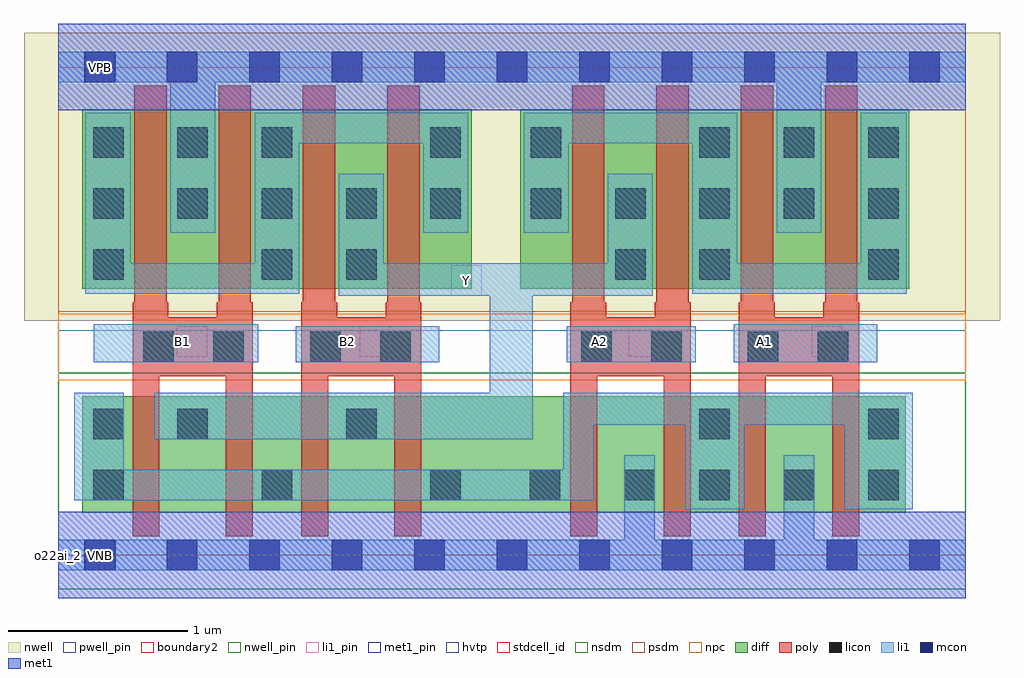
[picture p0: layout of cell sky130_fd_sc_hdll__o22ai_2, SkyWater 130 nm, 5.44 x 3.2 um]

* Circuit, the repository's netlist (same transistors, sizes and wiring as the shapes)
* Copyright 2020 The SkyWater PDK Authors
*
* Licensed under the Apache License, Version 2.0 (the "License");
* you may not use this file except in compliance with the License.
* You may obtain a copy of the License at
*
*     https://www.apache.org/licenses/LICENSE-2.0
*
* Unless required by applicable law or agreed to in writing, software
* distributed under the License is distributed on an "AS IS" BASIS,
* WITHOUT WARRANTIES OR CONDITIONS OF ANY KIND, either express or implied.
* See the License for the specific language governing permissions and
* limitations under the License.
*
* SPDX-License-Identifier: Apache-2.0

.SUBCKT sky130_fd_sc_hdll__o22ai_2 A1 A2 B1 B2 VGND VNB VPB VPWR Y
*.PININFO A1:I A2:I B1:I B2:I VGND:I VNB:I VPB:I VPWR:I Y:O
MMPA0 VPWR A1 sndA1 VPB sky130_fd_pr__pfet_01v8_hvt m=2 w=1.0U l=0.18U mult=1 sa=0.265
+ sb=0.265 sd=0.28 area=0.063 perim=1.14
MMPA1 sndA1 A2 Y VPB sky130_fd_pr__pfet_01v8_hvt m=2 w=1.0U l=0.18U mult=1 sa=0.265
+ sb=0.265 sd=0.28 area=0.063 perim=1.14
MMPB0 VPWR B1 sndB1 VPB sky130_fd_pr__pfet_01v8_hvt m=2 w=1.0U l=0.18U mult=1 sa=0.265
+ sb=0.265 sd=0.28 area=0.063 perim=1.14
MMPB1 sndB1 B2 Y VPB sky130_fd_pr__pfet_01v8_hvt m=2 w=1.0U l=0.18U mult=1 sa=0.265
+ sb=0.265 sd=0.28 area=0.063 perim=1.14
MMNA0 pndA A1 VGND VNB sky130_fd_pr__nfet_01v8 m=2 w=0.65U l=0.15U mult=1 sa=0.265
+ sb=0.265 sd=0.28 area=0.063 perim=1.14
MMNA1 pndA A2 VGND VNB sky130_fd_pr__nfet_01v8 m=2 w=0.65U l=0.15U mult=1 sa=0.265
+ sb=0.265 sd=0.28 area=0.063 perim=1.14
MMNB0 Y B1 pndA VNB sky130_fd_pr__nfet_01v8 m=2 w=0.65U l=0.15U mult=1 sa=0.265
+ sb=0.265 sd=0.28 area=0.063 perim=1.14
MMNB1 Y B2 pndA VNB sky130_fd_pr__nfet_01v8 m=2 w=0.65U l=0.15U mult=1 sa=0.265
+ sb=0.265 sd=0.28 area=0.063 perim=1.14
.ENDS sky130_fd_sc_hdll__o22ai_2

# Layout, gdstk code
import gdstk
lib = gdstk.Library(unit=1e-6, precision=1e-09)
def R(c, l, rs):  # rectangles x0, y0, x1, y1
    for r in rs: c.add(gdstk.rectangle(r[:2], r[2:], *l))
def A(c, l, x, y, w, h, nx, ny, dx, dy):  # array of equal rectangles
    R(c, l, [(x+i*dx, y+j*dy, x+i*dx+w, y+j*dy+h) for i in range(nx) for j in range(ny)])
def P(c, l, *ps):  # polygons
    for p in ps: c.add(gdstk.Polygon(p, *l))
nwell_pin = (64, 16)
nwell = (64, 20)
diff = (65, 20)
poly = (66, 20)
licon = (66, 44)
li1_pin = (67, 16)
li1 = (67, 20)
mcon = (67, 44)
met1_pin = (68, 16)
met1 = (68, 20)
hvtp = (78, 44)
stdcell_id = (81, 4)
nsdm = (93, 44)
psdm = (94, 20)
npc = (95, 20)
pwell_pin = (122, 16)
boundary2 = (236, 0)

sky130_fd_sc_hdll__o22ai = lib.new_cell('sky130_fd_sc_hdll__o22ai_2')
R(sky130_fd_sc_hdll__o22ai, nwell_pin, [(0.15,2.635,0.32,2.805)])
R(sky130_fd_sc_hdll__o22ai, nwell, [(-0.19,1.305,5.25,2.91)])
R(sky130_fd_sc_hdll__o22ai, diff, [(0.135,0.235,4.725,0.885), (0.135,1.485,2.305,2.485), (2.575,1.485,4.745,2.485)])
P(sky130_fd_sc_hdll__o22ai, poly, [(1.085,1.41),(1.075,1.41),(1.075,2.615),(0.895,2.615),(0.895,1.41),(0.885,1.41),(0.885,1.325),(0.615,1.325),(0.615,1.41),(0.605,1.41),(0.605,2.615),(0.425,2.615),(0.425,1.41),(0.415,1.41),(0.415,0.105),(0.565,0.105),(0.565,0.995),(0.935,0.995),(0.935,0.105),(1.085,0.105)],
  [(2.025,1.41),(2.015,1.41),(2.015,2.615),(1.835,2.615),(1.835,1.41),(1.825,1.41),(1.825,1.325),(1.555,1.325),(1.555,1.41),(1.545,1.41),(1.545,2.615),(1.365,2.615),(1.365,1.41),(1.355,1.41),(1.355,0.105),(1.505,0.105),(1.505,0.995),(1.875,0.995),(1.875,0.105),(2.025,0.105)],
  [(3.525,1.41),(3.515,1.41),(3.515,2.615),(3.335,2.615),(3.335,1.41),(3.325,1.41),(3.325,1.325),(3.055,1.325),(3.055,1.41),(3.045,1.41),(3.045,2.615),(2.865,2.615),(2.865,1.41),(2.855,1.41),(2.855,0.105),(3.005,0.105),(3.005,0.995),(3.375,0.995),(3.375,0.105),(3.525,0.105)],
  [(4.465,1.41),(4.455,1.41),(4.455,2.615),(4.275,2.615),(4.275,1.41),(4.265,1.41),(4.265,1.325),(3.995,1.325),(3.995,1.41),(3.985,1.41),(3.985,2.615),(3.805,2.615),(3.805,1.41),(3.795,1.41),(3.795,0.105),(3.945,0.105),(3.945,0.995),(4.315,0.995),(4.315,0.105),(4.465,0.105)])
A(sky130_fd_sc_hdll__o22ai, licon, 0.195, 0.305, 0.17, 0.17, 3, 1, 0.94, 0)
A(sky130_fd_sc_hdll__o22ai, licon, 3.575, 0.305, 0.17, 0.17, 3, 2, 0.47, 1.91)
A(sky130_fd_sc_hdll__o22ai, licon, 0.195, 1.875, 0.17, 0.17, 5, 1, 0.47, 0)
A(sky130_fd_sc_hdll__o22ai, licon, 2.635, 1.875, 0.17, 0.17, 5, 1, 0.47, 0)
A(sky130_fd_sc_hdll__o22ai, licon, 0.195, 2.215, 0.17, 0.17, 3, 1, 0.47, 0)
R(sky130_fd_sc_hdll__o22ai, licon, [(2.63,0.305,2.8,0.475), (3.155,0.305,3.325,0.475), (0.195,0.645,0.365,0.815), (0.665,0.645,0.835,0.815), (1.605,0.645,1.775,0.815), (3.575,0.645,3.745,0.815), (4.515,0.645,4.685,0.815), (0.475,1.075,0.645,1.245), (0.865,1.075,1.035,1.245), (1.405,1.075,1.575,1.245), (1.795,1.075,1.965,1.245), (2.915,1.075,3.085,1.245), (3.305,1.075,3.475,1.245), (3.845,1.075,4.015,1.245), (4.235,1.075,4.405,1.245), (0.195,1.535,0.365,1.705), (1.135,1.535,1.305,1.705), (1.605,1.535,1.775,1.705), (3.105,1.535,3.275,1.705), (3.575,1.535,3.745,1.705), (4.515,1.535,4.685,1.705), (2.075,2.215,2.245,2.385), (2.635,2.215,2.805,2.385)])
R(sky130_fd_sc_hdll__o22ai, li1_pin, [(0.66,1.105,0.83,1.275), (1.68,1.105,1.85,1.275), (3.18,1.105,3.35,1.275), (4.2,1.105,4.37,1.275), (2.19,1.445,2.36,1.615)])
R(sky130_fd_sc_hdll__o22ai, li1, [(0.2,1.075,1.115,1.285), (1.325,1.075,2.125,1.275), (2.835,1.075,3.555,1.275), (3.765,1.075,4.565,1.285)])
P(sky130_fd_sc_hdll__o22ai, li1, [(4.73,2.465),(4.475,2.465),(4.475,1.625),(3.785,1.625),(3.785,2.465),(2.595,2.465),(2.595,1.795),(2.845,1.795),(2.845,2.295),(3.535,2.295),(3.535,1.455),(4.73,1.455)],
  [(5.06,0.085),(4.215,0.085),(4.215,0.555),(4.045,0.555),(4.045,0.085),(3.325,0.085),(3.325,0.555),(3.155,0.555),(3.155,0.085),(0,0.085),(0,-0.085),(5.06,-0.085)],
  [(5.06,2.805),(0,2.805),(0,2.635),(0.625,2.635),(0.625,1.795),(0.875,1.795),(0.875,2.635),(4.005,2.635),(4.005,1.795),(4.255,1.795),(4.255,2.635),(5.06,2.635)],
  [(2.285,2.465),(1.095,2.465),(1.095,1.625),(0.405,1.625),(0.405,2.465),(0.15,2.465),(0.15,1.455),(1.345,1.455),(1.345,2.295),(2.035,2.295),(2.035,1.795),(2.285,1.795)],
  [(3.315,2.125),(3.065,2.125),(3.065,1.625),(1.815,1.625),(1.815,2.125),(1.565,2.125),(1.565,1.445),(2.405,1.445),(2.405,0.905),(0.535,0.905),(0.535,0.645),(2.645,0.645),(2.645,1.445),(3.315,1.445)],
  [(4.765,0.905),(2.815,0.905),(2.815,0.475),(0.365,0.475),(0.365,0.905),(0.09,0.905),(0.09,0.305),(2.985,0.305),(2.985,0.725),(3.495,0.725),(3.495,0.255),(3.825,0.255),(3.825,0.725),(4.385,0.725),(4.385,0.255),(4.765,0.255)])
A(sky130_fd_sc_hdll__o22ai, mcon, 0.145, -0.085, 0.17, 0.17, 11, 2, 0.46, 2.72)
R(sky130_fd_sc_hdll__o22ai, met1_pin, [(0.15,-0.085,0.32,0.085), (0.15,2.635,0.32,2.805)])
R(sky130_fd_sc_hdll__o22ai, met1, [(0,-0.24,5.06,0.24), (0,2.48,5.06,2.96)])
R(sky130_fd_sc_hdll__o22ai, hvtp, [(0,1.25,5.06,2.72)])
R(sky130_fd_sc_hdll__o22ai, stdcell_id, [(0,0,5.06,2.72)])
R(sky130_fd_sc_hdll__o22ai, nsdm, [(0,-0.19,5.06,1.015)])
R(sky130_fd_sc_hdll__o22ai, psdm, [(0,1.355,5.06,2.91)])
R(sky130_fd_sc_hdll__o22ai, npc, [(0,0.975,5.06,1.345)])
R(sky130_fd_sc_hdll__o22ai, pwell_pin, [(0.15,-0.085,0.32,0.085)])
R(sky130_fd_sc_hdll__o22ai, boundary2, [(0,0,5.06,2.72)])
sky130_fd_sc_hdll__o22ai.add(gdstk.Label('B2', (1.615,1.19), layer=67, texttype=5))
sky130_fd_sc_hdll__o22ai.add(gdstk.Label('B1', (0.695,1.19), layer=67, texttype=5))
sky130_fd_sc_hdll__o22ai.add(gdstk.Label('Y', (2.275,1.53), layer=67, texttype=5))
sky130_fd_sc_hdll__o22ai.add(gdstk.Label('A1', (3.935,1.19), layer=67, texttype=5))
sky130_fd_sc_hdll__o22ai.add(gdstk.Label('A2', (3.015,1.19), layer=67, texttype=5))
sky130_fd_sc_hdll__o22ai.add(gdstk.Label('VPB', (0.235,2.72), layer=64, texttype=5))
sky130_fd_sc_hdll__o22ai.add(gdstk.Label('VNB', (0.235,0), layer=64, texttype=59))
sky130_fd_sc_hdll__o22ai.add(gdstk.Label('VGND', (0.235,0), layer=68, texttype=5))
sky130_fd_sc_hdll__o22ai.add(gdstk.Label('VPWR', (0.235,2.72), layer=68, texttype=5))
sky130_fd_sc_hdll__o22ai.add(gdstk.Label('o22ai_2', (0,0), layer=83, texttype=44))

lib.write_gds('sky130_fd_sc_hdll__o22ai_2.gds')
